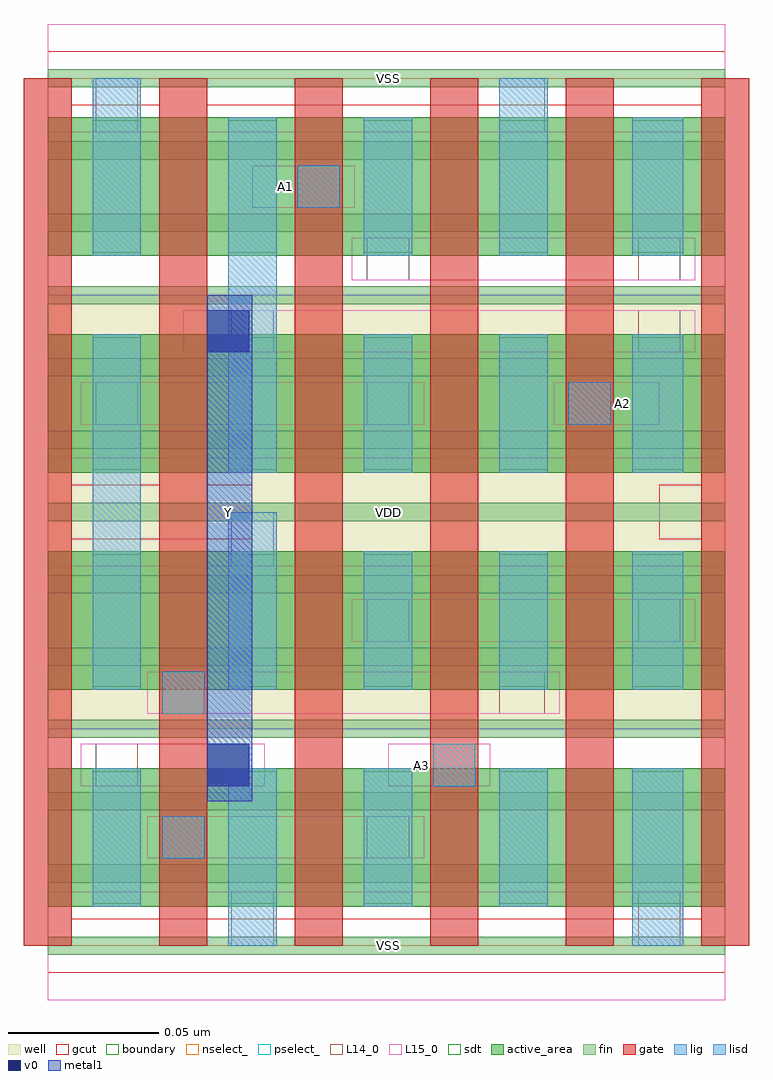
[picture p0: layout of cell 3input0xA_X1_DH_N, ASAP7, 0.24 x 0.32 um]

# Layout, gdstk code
import gdstk
lib = gdstk.Library(unit=1e-6, precision=1e-09)
def R(c, l, rs):  # rectangles x0, y0, x1, y1
    for r in rs: c.add(gdstk.rectangle(r[:2], r[2:], *l))
def A(c, l, x, y, w, h, nx, ny, dx, dy):  # array of equal rectangles
    R(c, l, [(x+i*dx, y+j*dy, x+i*dx+w, y+j*dy+h) for i in range(nx) for j in range(ny)])
def P(c, l, *ps):  # polygons
    for p in ps: c.add(gdstk.Polygon(p, *l))
well = (1, 0)
fin = (2, 0)
gate = (7, 0)
gcut = (10, 0)
active_area = (11, 0)
nselect_ = (12, 0)
pselect_ = (13, 0)
L14_0 = (14, 0)
L15_0 = (15, 0)
lig = (16, 0)
lisd = (17, 0)
v0 = (18, 0)
metal1 = (19, 0)
sdt = (88, 0)
boundary = (100, 0)

c_3input0xa_x1_dh_n = lib.new_cell('3input0xA_X1_DH_N')
R(c_3input0xa_x1_dh_n, well, [(0,0.072,0.225,0.144), (0,0.144,0.225,0.216)])
A(c_3input0xa_x1_dh_n, fin, 0, -0.003, 0.225, 0.006, 1, 13, 0, 0.024)
A(c_3input0xa_x1_dh_n, gate, -0.008, 0, 0.016, 0.288, 6, 1, 0.045, 0)
P(c_3input0xa_x1_dh_n, gcut, [(0,-0.009),(0,0),(-0.008,0),(-0.008,0.279),(0.008,0.279),(0.008,0.153),(0.037,0.153),(0.037,0.279),(0.053,0.279),(0.053,0.153),(0.068,0.153),(0.068,0.135),(0.008,0.135),(0.008,0.009),(0.217,0.009),(0.217,0.135),(0.203,0.135),(0.203,0.153),(0.217,0.153),(0.217,0.279),(-0.008,0.279),(-0.008,0.288),(0,0.288),(0,0.297),(0.225,0.297),(0.225,0.288),(0.233,0.288),(0.233,0),(0.225,0),(0.225,-0.009)])
A(c_3input0xa_x1_dh_n, active_area, 0, 0.013, 0.225, 0.046, 1, 4, 0, 0.072)
R(c_3input0xa_x1_dh_n, nselect_, [(0,0,0.225,0.072), (0,0.216,0.225,0.288)])
R(c_3input0xa_x1_dh_n, pselect_, [(0,0.072,0.225,0.144), (0,0.144,0.225,0.216)])
A(c_3input0xa_x1_dh_n, L14_0, 0.106, 0.029, 0.014, 0.014, 1, 3, 0, 0.072)
R(c_3input0xa_x1_dh_n, L14_0, [(0.061,0,0.075,0.018), (0.196,0,0.21,0.018), (0.038,0.029,0.052,0.043), (0.016,0.053,0.03,0.067), (0.128,0.053,0.142,0.067), (0.038,0.077,0.052,0.091), (0.15,0.077,0.165,0.091), (0.196,0.101,0.21,0.115), (0.061,0.126,0.075,0.144), (0.016,0.173,0.03,0.187), (0.173,0.173,0.187,0.187), (0.061,0.197,0.075,0.211), (0.196,0.197,0.21,0.211), (0.106,0.221,0.12,0.235), (0.196,0.221,0.21,0.235), (0.083,0.245,0.097,0.259), (0.016,0.27,0.03,0.288), (0.15,0.27,0.165,0.288)])
A(c_3input0xa_x1_dh_n, L15_0, 0, -0.018, 0.225, 0.036, 1, 3, 0, 0.144)
R(c_3input0xa_x1_dh_n, L15_0, [(0.033,0.029,0.125,0.043), (0.011,0.053,0.072,0.067), (0.113,0.053,0.147,0.067), (0.033,0.077,0.17,0.091), (0.101,0.101,0.215,0.115), (0.011,0.173,0.125,0.187), (0.168,0.173,0.203,0.187), (0.045,0.197,0.215,0.211), (0.101,0.221,0.215,0.235), (0.068,0.245,0.102,0.259)])
R(c_3input0xa_x1_dh_n, lig, [(0.038,0.029,0.052,0.043), (0.128,0.053,0.142,0.067), (0.038,0.077,0.052,0.091), (0.173,0.173,0.187,0.187), (0.083,0.245,0.097,0.259)])
A(c_3input0xa_x1_dh_n, lisd, 0.105, 0.013, 0.016, 0.046, 1, 4, 0, 0.072)
A(c_3input0xa_x1_dh_n, lisd, 0.15, 0.013, 0.016, 0.046, 1, 3, 0, 0.072)
A(c_3input0xa_x1_dh_n, lisd, 0.194, 0.085, 0.017, 0.046, 1, 3, 0, 0.072)
R(c_3input0xa_x1_dh_n, lisd, [(0.06,0,0.076,0.059), (0.194,0,0.211,0.059), (0.015,0.013,0.031,0.059), (0.015,0.085,0.031,0.203), (0.06,0.085,0.076,0.144), (0.06,0.157,0.076,0.275), (0.015,0.229,0.031,0.288), (0.15,0.229,0.166,0.288)])
R(c_3input0xa_x1_dh_n, v0, [(0.053,0.053,0.067,0.067), (0.053,0.197,0.067,0.211)])
R(c_3input0xa_x1_dh_n, metal1, [(0.053,0.048,0.068,0.216)])
A(c_3input0xa_x1_dh_n, sdt, 0.015, 0.014, 0.016, 0.044, 4, 4, 0.045, 0.072)
A(c_3input0xa_x1_dh_n, sdt, 0.194, 0.014, 0.017, 0.044, 1, 4, 0, 0.072)
R(c_3input0xa_x1_dh_n, boundary, [(0,0,0.225,0.288)])
c_3input0xa_x1_dh_n.add(gdstk.Label('A3', (0.124,0.06), layer=15, texttype=251))
c_3input0xa_x1_dh_n.add(gdstk.Label('VSS', (0.113,0), layer=15, texttype=251))
c_3input0xa_x1_dh_n.add(gdstk.Label('VDD', (0.113,0.144), layer=15, texttype=251))
c_3input0xa_x1_dh_n.add(gdstk.Label('VDD', (0.113,0.144), layer=15, texttype=251))
c_3input0xa_x1_dh_n.add(gdstk.Label('VSS', (0.113,0.288), layer=15, texttype=251))
c_3input0xa_x1_dh_n.add(gdstk.Label('A2', (0.191,0.18), layer=15, texttype=251))
c_3input0xa_x1_dh_n.add(gdstk.Label('VSS', (0.113,0), layer=15, texttype=251))
c_3input0xa_x1_dh_n.add(gdstk.Label('VDD', (0.113,0.144), layer=15, texttype=251))
c_3input0xa_x1_dh_n.add(gdstk.Label('VDD', (0.113,0.144), layer=15, texttype=251))
c_3input0xa_x1_dh_n.add(gdstk.Label('VSS', (0.113,0.288), layer=15, texttype=251))
c_3input0xa_x1_dh_n.add(gdstk.Label('A1', (0.079,0.252), layer=15, texttype=251))
c_3input0xa_x1_dh_n.add(gdstk.Label('VSS', (0.113,0), layer=15, texttype=251))
c_3input0xa_x1_dh_n.add(gdstk.Label('VDD', (0.113,0.144), layer=15, texttype=251))
c_3input0xa_x1_dh_n.add(gdstk.Label('VDD', (0.113,0.144), layer=15, texttype=251))
c_3input0xa_x1_dh_n.add(gdstk.Label('VSS', (0.113,0.288), layer=15, texttype=251))
c_3input0xa_x1_dh_n.add(gdstk.Label('VSS', (0.113,0), layer=15, texttype=251))
c_3input0xa_x1_dh_n.add(gdstk.Label('VDD', (0.113,0.144), layer=15, texttype=251))
c_3input0xa_x1_dh_n.add(gdstk.Label('VDD', (0.113,0.144), layer=15, texttype=251))
c_3input0xa_x1_dh_n.add(gdstk.Label('VSS', (0.113,0.288), layer=15, texttype=251))
c_3input0xa_x1_dh_n.add(gdstk.Label('VSS', (0.113,0), layer=3, texttype=251))
c_3input0xa_x1_dh_n.add(gdstk.Label('VSS', (0.113,0.288), layer=3, texttype=251))
c_3input0xa_x1_dh_n.add(gdstk.Label('VSS', (0.113,0), layer=3, texttype=251))
c_3input0xa_x1_dh_n.add(gdstk.Label('VSS', (0.113,0.288), layer=3, texttype=251))
c_3input0xa_x1_dh_n.add(gdstk.Label('VSS', (0.113,0), layer=3, texttype=251))
c_3input0xa_x1_dh_n.add(gdstk.Label('VSS', (0.113,0.288), layer=3, texttype=251))
c_3input0xa_x1_dh_n.add(gdstk.Label('VSS', (0.113,0), layer=3, texttype=251))
c_3input0xa_x1_dh_n.add(gdstk.Label('VSS', (0.113,0.288), layer=3, texttype=251))
c_3input0xa_x1_dh_n.add(gdstk.Label('VDD', (0.113,0.144), layer=1, texttype=251))
c_3input0xa_x1_dh_n.add(gdstk.Label('VDD', (0.113,0.144), layer=1, texttype=251))
c_3input0xa_x1_dh_n.add(gdstk.Label('VDD', (0.113,0.144), layer=1, texttype=251))
c_3input0xa_x1_dh_n.add(gdstk.Label('VDD', (0.113,0.144), layer=1, texttype=251))
c_3input0xa_x1_dh_n.add(gdstk.Label('VDD', (0.113,0.144), layer=1, texttype=251))
c_3input0xa_x1_dh_n.add(gdstk.Label('VDD', (0.113,0.144), layer=1, texttype=251))
c_3input0xa_x1_dh_n.add(gdstk.Label('VDD', (0.113,0.144), layer=1, texttype=251))
c_3input0xa_x1_dh_n.add(gdstk.Label('VDD', (0.113,0.144), layer=1, texttype=251))
c_3input0xa_x1_dh_n.add(gdstk.Label('Y', (0.06,0.144), layer=19, texttype=251))

lib.write_gds('3input0xA_X1_DH_N.gds')
